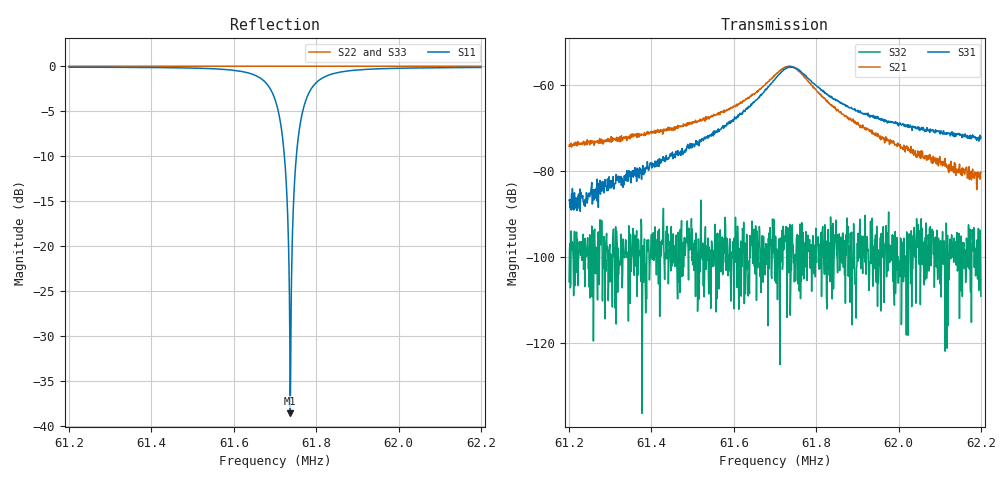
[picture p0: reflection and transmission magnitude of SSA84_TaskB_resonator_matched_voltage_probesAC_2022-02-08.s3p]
#  HZ  S  DB  R  50.00
! Rohde & Schwarz Vector Network Analyzer
! Rohde-Schwarz,ZNB8-4Port,1311601044102961,2.82
! Created: UTC 2/8/2022, 8:31:12 AM
! freq[Hz]  db:S11  ang:S11  db:S12  ang:S12  db:S13  ang:S13
!  db:S21  ang:S21  db:S22  ang:S22  db:S23  ang:S23
!  db:S31  ang:S31  db:S32  ang:S32  db:S33  ang:S33
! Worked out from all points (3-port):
!   1001 points, 61.2 MHz to 62.2 MHz, reference 50 ohm
!   strongest paths, dB at 61.2 MHz, 61.45 MHz, 61.7 MHz, 61.95 MHz, 62.2 MHz:
!     S31: -86.8, -75.9, -58.7, -67.6, -72.3
!     S21: -74.3, -70.0, -57.7, -71.4, -80.4
!     S32: -105.8, -102.1, -105.5, -98.3, -109.1
!   lowest |S11| = -38.6 dB at 61.737 MHz (marker M1), VSWR 1.02, Z = 51.1 - j0.512 ohm
!   |S11| at or under -10 dB: 61.72283 MHz to 61.75187 MHz (29.03 kHz wide, 0.047 % of centre)
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6.12e7  -0.12 11.9  -74.27 69.9  -86.83 -115.7
        -74.33 72.2  -0.00 -47.1  -98.53 176.0
        -86.79 -111.9  -105.77 44.4  -0.01 -42.5
6.1422e7  -0.16 5.0  -70.64 66.1  -78.18 -109.8
          -70.39 61.8  -0.01 -47.3  -99.40 38.1
          -78.24 -113.5  -96.50 4.0  -0.01 -42.7
6.1628e7  -0.67 -12.2  -63.43 50.7  -66.04 -130.1
          -63.50 50.0  -0.00 -47.4  -95.29 -8.7
          -65.85 -130.0  -108.55 36.5  -0.01 -42.8
6.17e7  -3.70 -41.1  -57.66 21.8  -58.70 -158.3
        -57.73 22.3  -0.01 -47.4  -91.44 7.5
        -58.72 -158.4  -105.51 87.8  -0.01 -42.9
6.1723e7  -10.09 -63.3  -55.90 -1.4  -56.43 179.1
          -56.02 -1.3  -0.00 -47.5  -93.01 87.6
          -56.39 178.6  -96.35 -17.2  -0.01 -42.9
6.1737e7  -38.64 -25.4  -55.57 -18.9  -55.84 160.5
          -55.72 -19.0  -0.01 -47.5  -96.90 -11.0
          -55.90 160.5  -113.52 117.2  -0.01 -42.9
6.1756e7  -8.12 71.3  -56.54 -42.8  -56.41 136.1
          -56.74 -43.3  -0.01 -47.5  -99.28 -68.4
          -56.48 137.1  -106.26 135.6  -0.01 -42.9
6.1795e7  -2.09 42.3  -60.71 -71.6  -59.75 106.5
          -60.73 -73.0  -0.00 -47.5  -109.31 -5.5
          -59.74 107.2  -101.97 -5.2  -0.01 -42.9
6.1896e7  -0.44 19.6  -68.75 -92.8  -65.72 86.1
          -69.02 -93.5  -0.01 -47.6  -96.11 35.4
          -66.07 83.6  -106.84 130.5  -0.00 -43.0
6.22e7  -0.15 4.7  -80.40 -109.4  -72.46 74.0
        -80.42 -108.3  -0.01 -47.8  -92.54 63.3
        -72.34 73.2  -109.10 106.3  -0.01 -43.2
